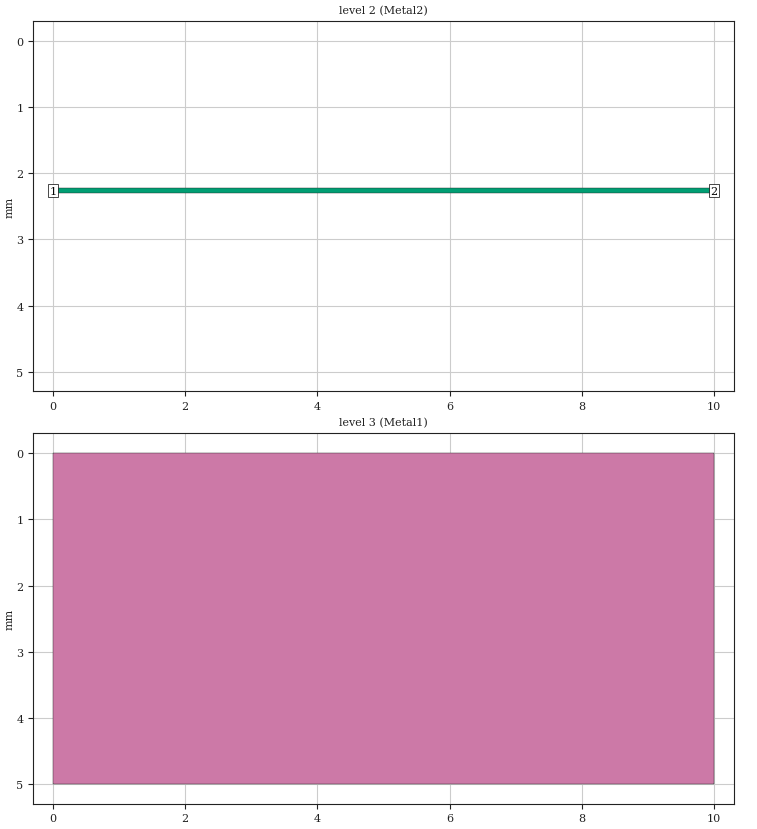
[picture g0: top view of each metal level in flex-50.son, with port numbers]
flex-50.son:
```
FTYP SONPROJ 19 ! Sonnet Project File
VER 18.58
HEADER
LIC antikernel2.1.92204
DAT 03/07/2025 08:59:36
BUILT_BY_CREATED xgeom 18.58 03/07/2025 08:51:26
BUILT_BY_SAVED sonnet 18.58
MDATE 03/07/2025 08:59:36
HDATE 03/07/2025 08:59:36
END HEADER
DIM
ANG DEG
CAP PF
CON /OH
FREQ GHZ
IND NH
LNG MM
RES OH
END DIM
CONTROL
VARSWP
OPTIONS  -dj
SPEED 0
CACHE_ABS 2
Q_ACC N
END CONTROL
GEO
TMET "Free Space" 0 FREESPACE 376.7303136 0 0 0
BMET "Free Space" 0 FREESPACE 376.7303136 0 0 0
BOX 6 10 5 800 400 20 0
      5 1 1 0 0 0 0 "Air"
      0.0125 2.9 1 0.003 0 0 0 "Coverlay"
      0.015 2.9 1 0.003 0 0 0 "Adhesive"
      0.025 3.3 1 0.003 0 0 0 "Polyimide"
      0.015 2.9 1 0.003 0 0 0 "Adhesive"
      0.0125 2.9 1 0.003 0 0 0 "Coverlay"
      5 1 1 0 0 0 0 "Air"
TECHLAY METAL Metal2 <UNSPECIFIED> -3 0 
2 0 -1 N 28 1 1 100 100 0 0 0 Y
END
END
TECHLAY METAL Metal1 <UNSPECIFIED> -2 0 
3 0 -1 N 26 1 1 100 100 0 0 0 Y
END
END
DIM STD YDIR 1
POS 0.4665278253 0.7939562462
NOM 0.075
REF1 POLY 30 1
1
REF2 POLY 30 1
2
END
LORGN 0 6.35 U 
POR1 BOX
POLY 30 1
3
1 50 0 0 0 0 2.2625 
POR1 BOX
POLY 30 1
1
2 50 0 0 0 10 2.2625 
NUM 2
2 5 -1 N 30 1 1 100 100 0 0 0 Y
TLAYNAM Metal2 INH
0 2.225
10 2.225
10 2.3
0 2.3
0 2.225
END
3 5 -1 N 29 1 1 100 100 0 0 0 Y
TLAYNAM Metal1 INH
0 0
10 0
10 5
0 5
0 0
END
END GEO
OPT
MAX 100
END OPT
VARSWP
ENABLED Y
FREQ Y AY ABS_ENTRY 0.1 10.0 -1 300 
END
END VARSWP
```
